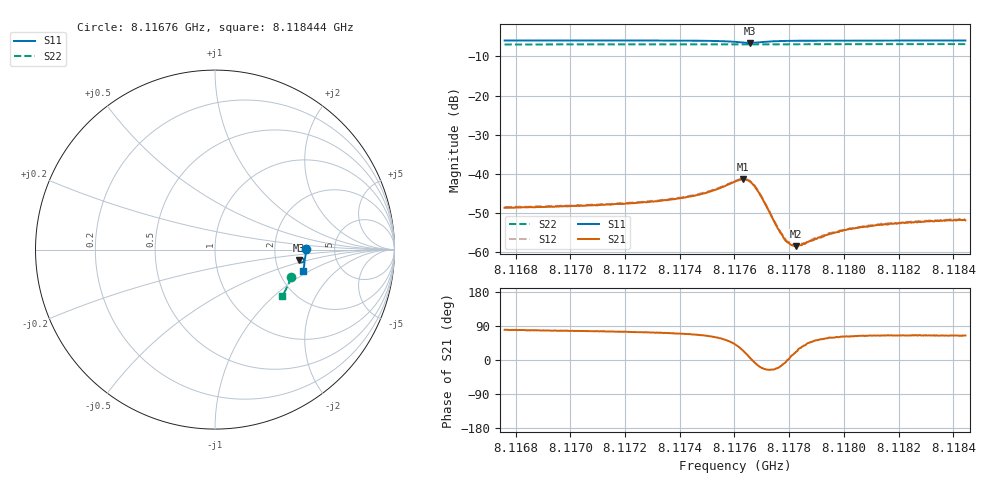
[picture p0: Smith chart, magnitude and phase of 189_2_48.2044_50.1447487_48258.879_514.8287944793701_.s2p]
#  HZ  S  RI  R  50.00
! Rohde & Schwarz Vector Network Analyzer
! Rohde-Schwarz,ZNB20-2Port,1311601062101988,3.16
! Created: UTC 3/20/2024, 11:44:33 AM
! freq[Hz]  re:S11  im:S11  re:S21  im:S21  re:S12  im:S12  re:S22  im:S22
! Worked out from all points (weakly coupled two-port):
!   401 points, 8.11676 GHz to 8.118444 GHz, reference 50 ohm
!   highest |S21| = -41.37 dB at 8.117632 GHz (marker M1); lowest = -58.4 dB at 8.117825 GHz (marker M2)
!   lowest |S11| = -6.5 dB at 8.117657 GHz (marker M3), VSWR 2.79, Z = 136 - j20 ohm
!   |S11| at or under -10 dB: nowhere
!   |S22| runs from -6.9 to -6.8 dB; largest |S21 - S12| = 0.0002
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8.1167601e9  0.5065 0.00122  0.00066 0.00363  0.000729 0.00369  0.4234 -0.1535
8.1170422e9  0.5056 -0.0206  0.000918 0.00383  0.000993 0.00385  0.4171 -0.1721
8.1173242e9  0.5028 -0.0441  0.00138 0.0043  0.00147 0.00435  0.4099 -0.1903
8.1174042e9  0.5013 -0.0516  0.00172 0.0046  0.00179 0.00467  0.4076 -0.1956
8.11748e9  0.4984 -0.0596  0.0023 0.00506  0.00243 0.0051  0.4054 -0.2006
8.117539e9  0.4937 -0.0667  0.00332 0.00553  0.00342 0.0056  0.4035 -0.2043
8.1176021e9  0.4808 -0.0724  0.00601 0.0053  0.00618 0.00532  0.4009 -0.2082
8.1176316e9  0.4714 -0.0678  0.00774 0.0036  0.00793 0.00357  0.3999 -0.2097
8.1176568e9  0.4682 -0.0571  0.00794 0.000816  0.00812 0.000734  0.3991 -0.2107
8.1176737e9  0.4718 -0.0502  0.00691 -0.000797  0.00705 -0.000905  0.3988 -0.2114
8.1176905e9  0.4778 -0.0466  0.00547 -0.00163  0.00553 -0.00169  0.3988 -0.2123
8.1177537e9  0.4936 -0.0525  0.002 -0.00082  0.00207 -0.000828  0.3976 -0.2167
8.1177831e9  0.4962 -0.0572  0.00145 -0.000212  0.00152 -0.00022  0.3967 -0.2185
8.1178042e9  0.4972 -0.0603  0.00125 0.000168  0.00127 0.000175  0.3961 -0.2199
8.1178252e9  0.4979 -0.063  0.00111 0.000441  0.00119 0.000479  0.3955 -0.2213
8.1178547e9  0.4984 -0.0666  0.001 0.000796  0.00104 0.000807  0.3944 -0.2233
8.1178842e9  0.4986 -0.0699  0.00094 0.00105  0.000972 0.00109  0.3936 -0.2252
8.1179431e9  0.4985 -0.0759  0.000883 0.00143  0.00095 0.00146  0.3916 -0.2289
8.1180105e9  0.4978 -0.0823  0.000895 0.00173  0.000924 0.00173  0.3895 -0.233
8.1180821e9  0.497 -0.0883  0.000921 0.00192  0.000966 0.00194  0.387 -0.2375
8.1181663e9  0.4957 -0.0952  0.000982 0.00208  0.001 0.0021  0.3843 -0.2426
8.1184441e9  0.4913 -0.1167  0.00109 0.00232  0.00119 0.00238  0.3739 -0.2594
